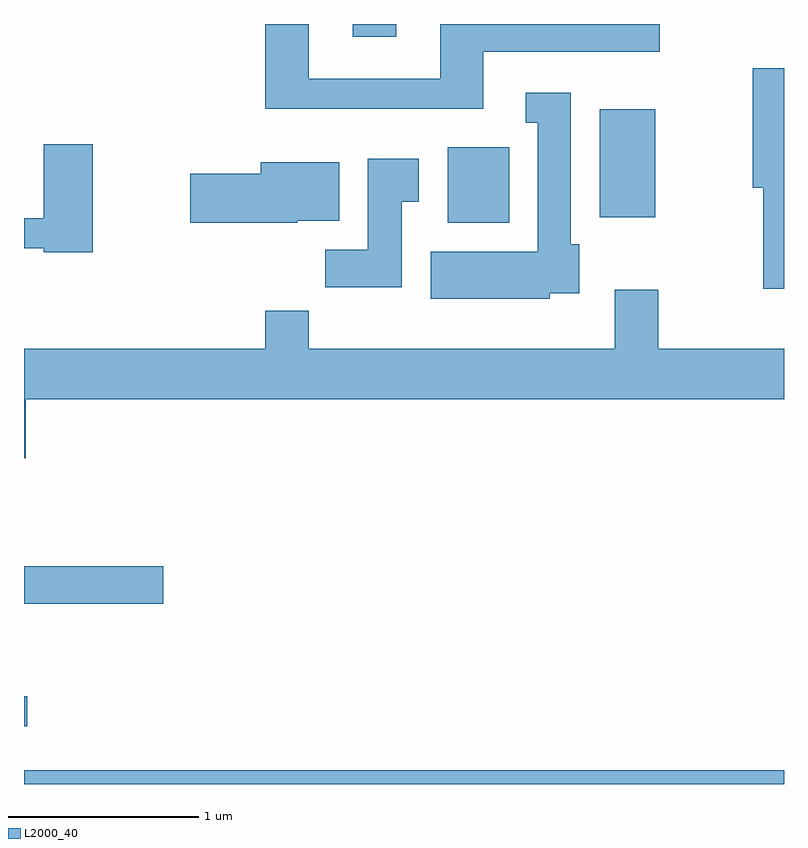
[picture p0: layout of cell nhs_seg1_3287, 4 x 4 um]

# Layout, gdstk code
import gdstk
lib = gdstk.Library(unit=1e-6, precision=1e-09)
def R(c, l, rs):  # rectangles x0, y0, x1, y1
    for r in rs: c.add(gdstk.rectangle(r[:2], r[2:], *l))
def P(c, l, *ps):  # polygons
    for p in ps: c.add(gdstk.Polygon(p, *l))
L2000_40 = (2000, 40)

nhs_seg1_3287 = lib.new_cell('nhs_seg1_3287')
R(nhs_seg1_3287, L2000_40, [(283.611,959.712,287.611,959.784), (283.611,960.016,283.628,960.174), (283.611,960.661,284.344,960.859), (285.841,962.666,286.164,963.064), (286.641,962.696,286.934,963.264), (285.341,963.646,285.569,963.712)])
P(nhs_seg1_3287, L2000_40, [(286.029,963.566),(286.958,963.566),(286.958,963.712),(285.801,963.712),(285.801,963.424),(285.109,963.424),(285.109,963.712),(284.881,963.712),(284.881,963.266),(286.029,963.266)],
  [(287.611,963.479),(287.446,963.479),(287.446,962.851),(287.501,962.851),(287.501,962.318),(287.611,962.318)],
  [(286.379,962.296),(286.534,962.296),(286.534,962.554),(286.489,962.554),(286.489,963.349),(286.253,963.349),(286.253,963.191),(286.316,963.191),(286.316,962.514),(285.751,962.514),(285.751,962.266),(286.379,962.266)],
  [(283.974,963.079),(283.716,963.079),(283.716,962.689),(283.611,962.689),(283.611,962.531),(283.716,962.531),(283.716,962.511),(283.974,962.511)],
  [(285.599,962.776),(285.689,962.776),(285.689,963.004),(285.421,963.004),(285.421,962.524),(285.196,962.524),(285.196,962.326),(285.599,962.326)],
  [(285.05,962.676),(285.269,962.676),(285.269,962.984),(284.856,962.984),(284.856,962.924),(284.486,962.924),(284.486,962.666),(285.05,962.666)],
  [(283.619,961.736),(287.611,961.736),(287.611,962.004),(286.949,962.004),(286.949,962.314),(286.721,962.314),(286.721,962.004),(285.109,962.004),(285.109,962.204),(284.881,962.204),(284.881,962.004),(283.611,962.004),(283.611,961.426),(283.619,961.426)])

lib.write_gds('nhs_seg1_3287.gds')
